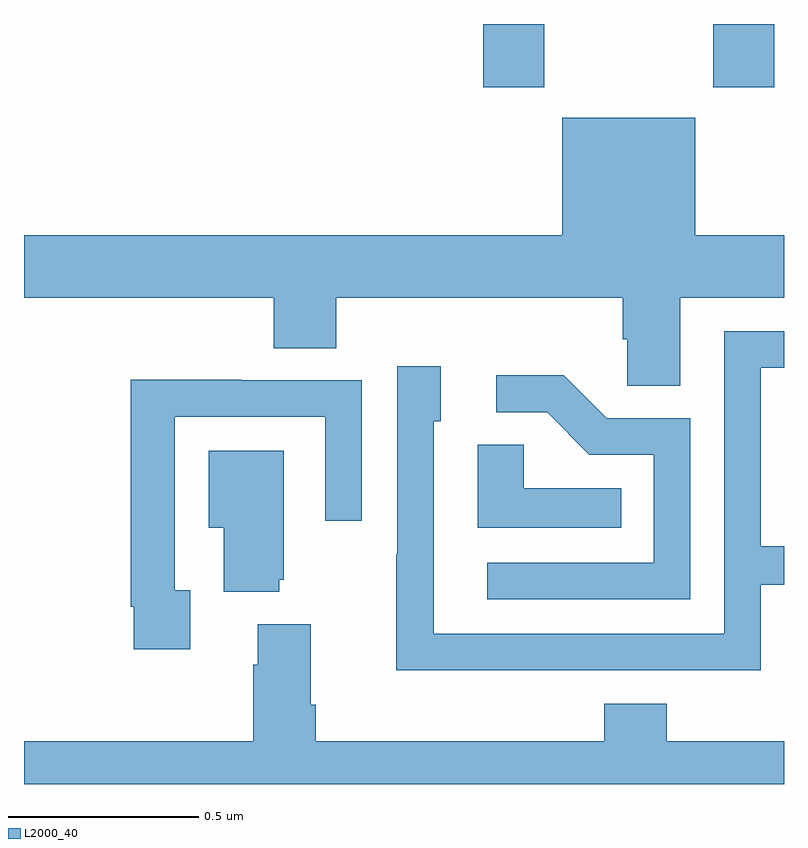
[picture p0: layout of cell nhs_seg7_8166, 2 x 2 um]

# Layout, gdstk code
import gdstk
lib = gdstk.Library(unit=1e-6, precision=1e-09)
def R(c, l, rs):  # rectangles x0, y0, x1, y1
    for r in rs: c.add(gdstk.rectangle(r[:2], r[2:], *l))
def P(c, l, *ps):  # polygons
    for p in ps: c.add(gdstk.Polygon(p, *l))
L2000_40 = (2000, 40)

nhs_seg7_8166 = lib.new_cell('nhs_seg7_8166')
R(nhs_seg7_8166, L2000_40, [(222.209,1003.833,222.369,1004), (222.814,1003.833,222.974,1004)])
P(nhs_seg7_8166, L2000_40, [(222.727,1003.28),(223,1003.28),(223,1003.444),(222.766,1003.444),(222.766,1003.753),(222.416,1003.753),(222.416,1003.444),(221,1003.444),(221,1003.28),(221.657,1003.28),(221.657,1003.147),(221.822,1003.147),(221.822,1003.28),(222.575,1003.28),(222.575,1003.171),(222.588,1003.171),(222.588,1003.048),(222.727,1003.048)],
  [(222.443,1002.3),(222.939,1002.3),(222.939,1002.525),(223,1002.525),(223,1002.626),(222.939,1002.626),(222.939,1003.095),(223,1003.095),(223,1003.191),(222.843,1003.191),(222.843,1002.396),(222.078,1002.396),(222.078,1002.954),(222.097,1002.954),(222.097,1003.099),(221.982,1003.099),(221.982,1002.605),(221.98,1002.605),(221.98,1002.299),(222.443,1002.299)],
  [(222.753,1002.963),(222.534,1002.963),(222.421,1003.076),(222.243,1003.076),(222.243,1002.978),(222.377,1002.978),(222.488,1002.867),(222.657,1002.867),(222.657,1002.582),(222.219,1002.582),(222.219,1002.486),(222.753,1002.486)],
  [(221.437,1002.51),(221.397,1002.51),(221.397,1002.966),(221.793,1002.966),(221.793,1002.693),(221.889,1002.693),(221.889,1003.062),(221.573,1003.062),(221.573,1003.064),(221.281,1003.064),(221.281,1002.466),(221.289,1002.466),(221.289,1002.354),(221.437,1002.354)],
  [(222.572,1002.778),(222.315,1002.778),(222.315,1002.893),(222.194,1002.893),(222.194,1002.674),(222.572,1002.674)],
  [(221.672,1002.537),(221.683,1002.537),(221.683,1002.877),(221.486,1002.877),(221.486,1002.674),(221.525,1002.674),(221.525,1002.506),(221.672,1002.506)],
  [(223,1002.112),(222.692,1002.112),(222.692,1002.211),(222.527,1002.211),(222.527,1002.112),(221.768,1002.112),(221.768,1002.208),(221.755,1002.208),(221.755,1002.421),(221.615,1002.421),(221.615,1002.314),(221.603,1002.314),(221.603,1002.112),(221,1002.112),(221,1002),(223,1002)])

lib.write_gds('nhs_seg7_8166.gds')
